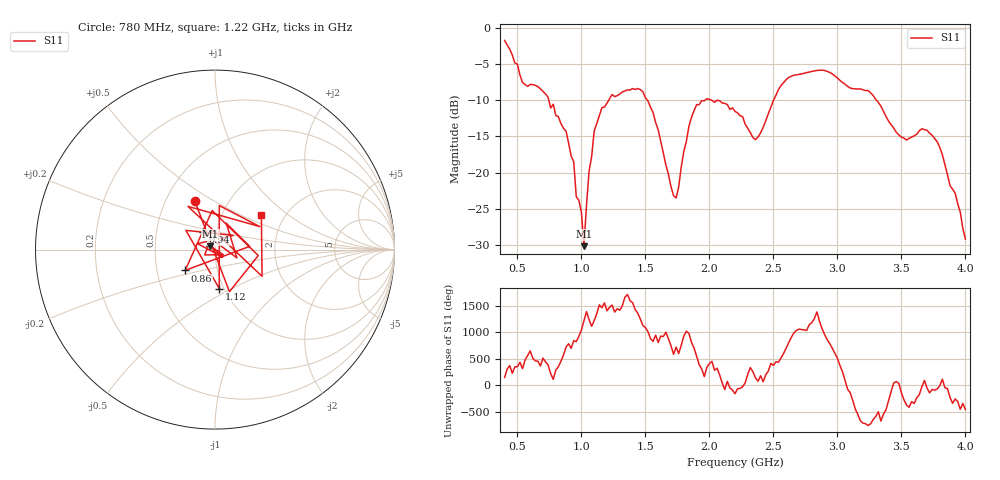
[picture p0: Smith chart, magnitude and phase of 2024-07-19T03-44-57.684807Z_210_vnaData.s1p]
!Created with skrf (http://scikit-rf.org).
# Hz S RI R 50.0
!freq ReS11 ImS11
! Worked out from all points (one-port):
!   181 points, 400 MHz to 4 GHz, reference 50 ohm
!   lowest |S11| = -30.1 dB at 1.02 GHz (marker M1), VSWR 1.06, Z = 47.5 + j1.74 ohm
!   |S11| at or under -10 dB: 745.2 MHz to 1.214 GHz (468.3 MHz wide, 47.8 % of centre); 2.016 GHz to 2.501 GHz (485.5 MHz wide, 21.5 % of centre); 3.304 GHz to end of sweep (the widest 3 of 4)
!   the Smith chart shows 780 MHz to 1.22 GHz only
!   S11 on the Smith chart (normalised r, x): 780 MHz: 0.69, +0.42; 860 MHz: 0.70, -0.17; 940 MHz: 0.86, +0.17; 1.12 GHz: 0.95, -0.43; 1.22 GHz: 1.52, +0.66
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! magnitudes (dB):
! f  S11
! 400 MHz  -1.8
! 540 MHz  -7.6
! 780 MHz  -10.6
! 860 MHz  -13.9
! 940 MHz  -18.5
! 960 MHz  -23.3
! 1 GHz  -25.4
! 1.02 GHz  -30.1
! 1.06 GHz  -19.8
! 1.12 GHz  -13.2
! 1.22 GHz  -9.8
! 1.3 GHz  -9.2
! 1.48 GHz  -8.8
! 1.6 GHz  -14.1
! 1.72 GHz  -23.2
! 1.76 GHz  -21.9
! 1.84 GHz  -13.6
! 1.9 GHz  -10.6
! 2.2 GHz  -11.6
! 2.36 GHz  -15.4
! 2.54 GHz  -8.5
! 2.66 GHz  -6.6
! 2.9 GHz  -5.9
! 3.1 GHz  -8.3
! 3.24 GHz  -8.7
! 3.56 GHz  -15.3
! 3.78 GHz  -15.7
! 4 GHz  -29.1
